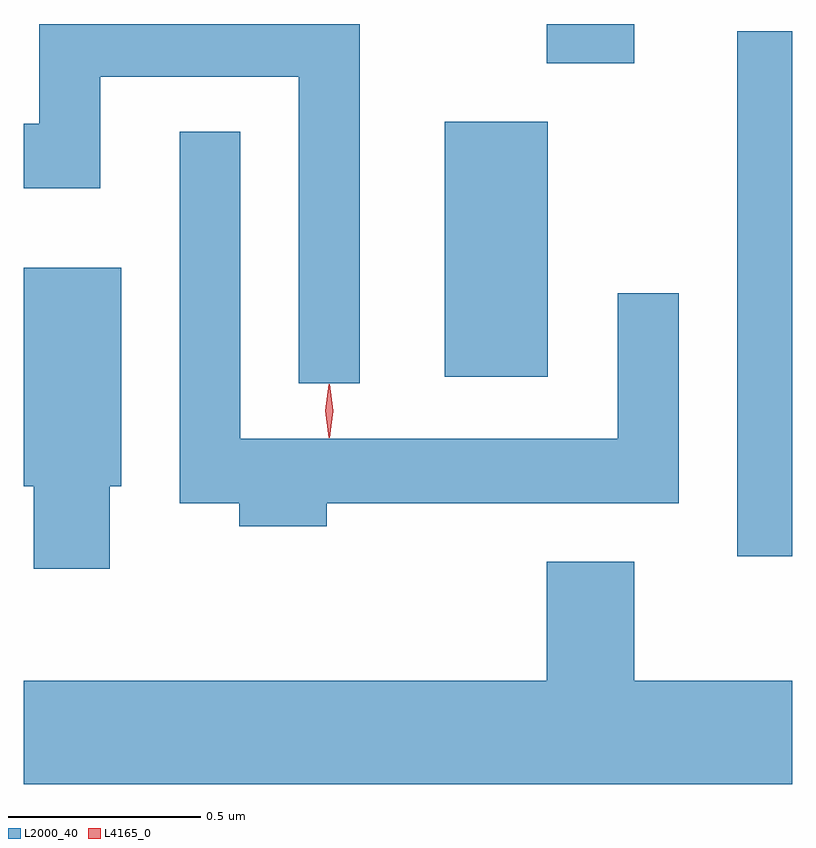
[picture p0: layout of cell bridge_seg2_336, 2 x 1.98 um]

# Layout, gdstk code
import gdstk
lib = gdstk.Library(unit=1e-6, precision=1e-09)
def R(c, l, rs):  # rectangles x0, y0, x1, y1
    for r in rs: c.add(gdstk.rectangle(r[:2], r[2:], *l))
def P(c, l, *ps):  # polygons
    for p in ps: c.add(gdstk.Polygon(p, *l))
L2000_40 = (2000, 40)
L4165_0 = (4165, 0)

bridge_seg2_336 = lib.new_cell('bridge_seg2_336')
R(bridge_seg2_336, L2000_40, [(414.336,1046.688,414.48,1048.054), (413.576,1047.156,413.844,1047.819), (413.841,1047.971,414.069,1048.073)])
P(bridge_seg2_336, L2000_40, [(413.354,1048.073),(412.521,1048.073),(412.521,1047.814),(412.48,1047.814),(412.48,1047.646),(412.679,1047.646),(412.679,1047.936),(413.196,1047.936),(413.196,1047.138),(413.354,1047.138)],
  [(413.269,1046.826),(414.184,1046.826),(414.184,1047.373),(414.026,1047.373),(414.026,1046.994),(413.044,1046.994),(413.044,1047.793),(412.886,1047.793),(412.886,1046.826),(413.041,1046.826),(413.041,1046.766),(413.269,1046.766)],
  [(412.704,1046.871),(412.734,1046.871),(412.734,1047.439),(412.48,1047.439),(412.48,1046.871),(412.506,1046.871),(412.506,1046.656),(412.704,1046.656)],
  [(414.48,1046.364),(414.069,1046.364),(414.069,1046.674),(413.841,1046.674),(413.841,1046.364),(412.48,1046.364),(412.48,1046.096),(414.48,1046.096)])
P(bridge_seg2_336, L4165_0, [(413.276,1047),(413.276,1047),(413.266,1047.066),(413.276,1047.132),(413.276,1047.133),(413.277,1047.132),(413.286,1047.066),(413.277,1047)],
  [(413.274,1046.997),(413.265,1047.067),(413.274,1047.136),(413.275,1047.136),(413.276,1047.136),(413.285,1047.067),(413.276,1046.997),(413.275,1046.997)])

lib.write_gds('bridge_seg2_336.gds')
